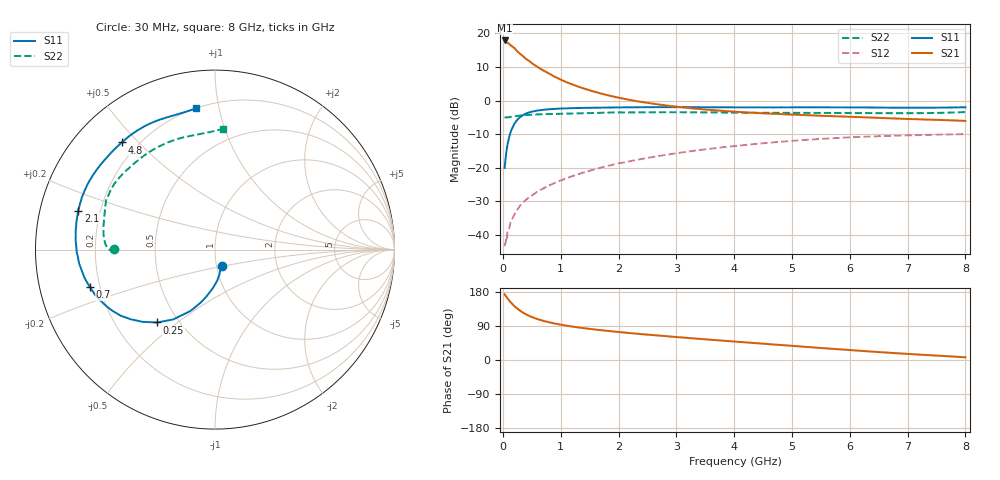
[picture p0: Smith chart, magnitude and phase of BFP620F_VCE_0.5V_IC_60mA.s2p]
! Infineon Technologies  Discrete & RF Semiconductors
! BFP620F
! VCE =  0.5 V,  IC =  60 mA
! Common Emitter S-Parameters:  Dec 2014
# GHz  S  MA  R  50
!  f  S11  S21  S12  S22
! GHz  MAG  ANG  MAG  ANG  MAG  ANG  MAG  ANG
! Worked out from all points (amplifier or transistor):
!   95 points, 30 MHz to 8 GHz, reference 50 ohm
!   highest |S21| = 17.9 dB at 30 MHz (marker M1)
!   |S21| within 3 dB of that: start of sweep to 237.9 MHz
!   unconditionally stable (mu >= 1): start of sweep to end of sweep
!   at 300 MHz: K = 1.95, MAG = 17.0 dB, |S12| = -31.2 dB
!   at 3.3 GHz: K = 1.34, MAG = 2.8 dB, |S12| = -15.0 dB
!   at 8 GHz: K = 1.25, MAG = -1.0 dB, |S12| = -10.0 dB
!   S11 on the Smith chart (normalised r, x): 30 MHz: 1.07, -0.20; 250 MHz: 0.38, -0.42; 700 MHz: 0.16, -0.14; 2.1 GHz: 0.12, +0.14; 4.8 GHz: 0.14, +0.45; 8 GHz: 0.20, +0.85
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0.03  0.0993 -65.9  7.845 173.4  0.0068 27.5  0.5627 179.9
0.04  0.1204 -76.0  7.484 171.3  0.0074 33.5  0.5617 -179.9
0.05  0.1442 -80.5  7.54 169.1  0.0078 39.8  0.5617 -179.6
0.08  0.2203 -94.1  7.234 162.7  0.0114 45.2  0.5637 -179.5
0.11  0.2884 -103.1  6.961 156.9  0.0125 53.6  0.5671 -179.2
0.13  0.3304 -108.0  6.712 153.3  0.0151 56.3  0.5698 -179.3
0.2  0.4535 -120.9  6.052 141.9  0.0202 59.4  0.5812 -179.5
0.25  0.5187 -128.5  5.403 135.6  0.0237 59.4  0.59 -180.0
0.3  0.5695 -135.0  4.945 129.8  0.0275 60.2  0.5971 179.3
0.4  0.6411 -144.9  4.16 120.6  0.0333 60.4  0.6089 177.6
0.5  0.6825 -152.5  3.607 113.5  0.0384 60.8  0.6163 175.8
0.6  0.7116 -158.5  3.158 107.9  0.0444 60.9  0.6221 174.0
0.7  0.7284 -163.5  2.8 103.3  0.0493 61.2  0.6267 172.3
1  0.7609 -174.1  2.05 93.2  0.0647 61.8  0.6359 167.5
1.4  0.7784 176.2  1.514 84.0  0.0852 61.2  0.6473 161.8
2.1  0.7923 164.1  1.06 72.5  0.1202 57.5  0.6642 154.6
2.7  0.7972 156.0  0.873 64.4  0.1498 53.5  0.6693 149.4
4.1  0.7915 138.9  0.675 47.6  0.2145 41.9  0.6598 136.2
4.8  0.7919 131.1  0.629 39.7  0.2433 35.6  0.6563 127.9
5.4  0.7927 124.9  0.599 32.8  0.2651 29.9  0.6546 120.6
6.7  0.7844 111.0  0.544 19.0  0.2981 17.5  0.6487 104.1
8  0.7943 97.7  0.498 7.2  0.3161 6.6  0.6734 86.2
